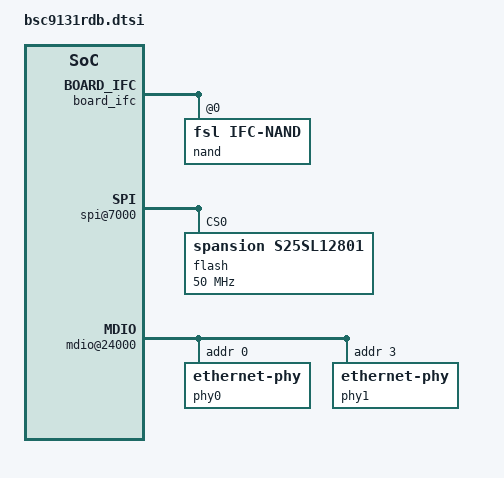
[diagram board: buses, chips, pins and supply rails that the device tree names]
/*
 * BSC9131 RDB Device Tree Source stub (no addresses or top-level ranges)
 *
 * Copyright 2011-2012 Freescale Semiconductor Inc.
 *
 * Redistribution and use in source and binary forms, with or without
 * modification, are permitted provided that the following conditions are met:
 *     * Redistributions of source code must retain the above copyright
 *       notice, this list of conditions and the following disclaimer.
 *     * Redistributions in binary form must reproduce the above copyright
 *       notice, this list of conditions and the following disclaimer in the
 *       documentation and/or other materials provided with the distribution.
 *     * Neither the name of Freescale Semiconductor nor the
 *       names of its contributors may be used to endorse or promote products
 *       derived from this software without specific prior written permission.
 *
 *
 * ALTERNATIVELY, this software may be distributed under the terms of the
 * GNU General Public License ("GPL") as published by the Free Software
 * Foundation, either version 2 of that License or (at your option) any
 * later version.
 *
 * THIS SOFTWARE IS PROVIDED BY Freescale Semiconductor ``AS IS'' AND ANY
 * EXPRESS OR IMPLIED WARRANTIES, INCLUDING, BUT NOT LIMITED TO, THE IMPLIED
 * WARRANTIES OF MERCHANTABILITY AND FITNESS FOR A PARTICULAR PURPOSE ARE
 * DISCLAIMED. IN NO EVENT SHALL Freescale Semiconductor BE LIABLE FOR ANY
 * DIRECT, INDIRECT, INCIDENTAL, SPECIAL, EXEMPLARY, OR CONSEQUENTIAL DAMAGES
 * (INCLUDING, BUT NOT LIMITED TO, PROCUREMENT OF SUBSTITUTE GOODS OR SERVICES;
 * LOSS OF USE, DATA, OR PROFITS; OR BUSINESS INTERRUPTION) HOWEVER CAUSED AND
 * ON ANY THEORY OF LIABILITY, WHETHER IN CONTRACT, STRICT LIABILITY, OR TORT
 * (INCLUDING NEGLIGENCE OR OTHERWISE) ARISING IN ANY WAY OUT OF THE USE OF THIS
 * SOFTWARE, EVEN IF ADVISED OF THE POSSIBILITY OF SUCH DAMAGE.
 */

&board_ifc {

	nand@0,0 {
		#address-cells = <1>;
		#size-cells = <1>;
		compatible = "fsl,ifc-nand";
		reg = <0x0 0x0 0x4000>;

	};
};

&board_soc {
	/* BSC9131RDB does not have any device on i2c@3100 */
	i2c@3100 {
		status = "disabled";
	};

	spi@7000 {
		flash@0 {
			#address-cells = <1>;
			#size-cells = <1>;
			compatible = "spansion,s25sl12801";
			reg = <0>;
			spi-max-frequency = <50000000>;

		};
	};

	usb@22000 {
		phy_type = "ulpi";
	};

	mdio@24000 {
		phy0: ethernet-phy@0 {
			interrupts = <3 1 0 0>;
			reg = <0x0>;
		};

		phy1: ethernet-phy@1 {
			interrupts = <2 1 0 0>;
			reg = <0x3>;
		};
	};

	sdhc@2e000 {
		status = "disabled";
	};

	enet0: ethernet@b0000 {
		phy-handle = <&phy0>;
		phy-connection-type = "rgmii-id";
	};

	enet1: ethernet@b1000 {
		phy-handle = <&phy1>;
		phy-connection-type = "rgmii-id";
	};
};
